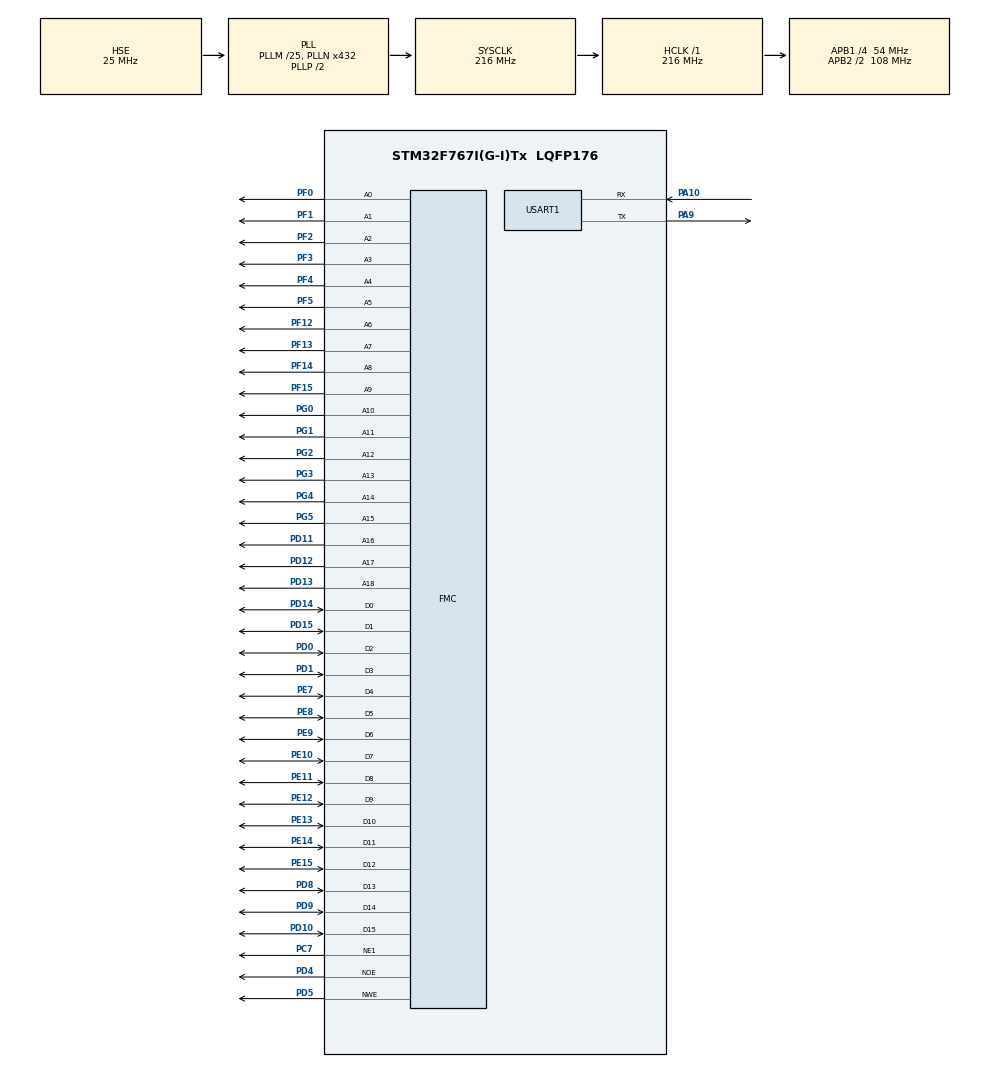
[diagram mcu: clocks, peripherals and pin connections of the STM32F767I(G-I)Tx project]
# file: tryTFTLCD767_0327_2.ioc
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Mcu.Family=STM32F7
Mcu.Name=STM32F767I(G-I)Tx
Mcu.Package=LQFP176
NVIC.PriorityGroup=NVIC_PRIORITYGROUP_4
PA10.Mode=Asynchronous
PA10.Signal=USART1_RX
PA9.Mode=Asynchronous
PA9.Signal=USART1_TX
PC7.Mode=NorPsramChipSelect1_1
PC7.Signal=FMC_NE1
PD0.Signal=FMC_D2_DA2
PD1.Signal=FMC_D3_DA3
PD10.Signal=FMC_D15_DA15
PD11.Signal=FMC_A16_CLE
PD12.Signal=FMC_A17_ALE
PD13.Signal=FMC_A18
PD14.Signal=FMC_D0_DA0
PD15.Signal=FMC_D1_DA1
PD4.Signal=FMC_NOE
PD5.Signal=FMC_NWE
PD8.Signal=FMC_D13_DA13
PD9.Signal=FMC_D14_DA14
PE10.Signal=FMC_D7_DA7
PE11.Signal=FMC_D8_DA8
PE12.Signal=FMC_D9_DA9
PE13.Signal=FMC_D10_DA10
PE14.Signal=FMC_D11_DA11
PE15.Signal=FMC_D12_DA12
PE7.Signal=FMC_D4_DA4
PE8.Signal=FMC_D5_DA5
PE9.Signal=FMC_D6_DA6
PF0.Signal=FMC_A0
PF1.Signal=FMC_A1
PF12.Signal=FMC_A6
PF13.Signal=FMC_A7
PF14.Signal=FMC_A8
PF15.Signal=FMC_A9
PF2.Signal=FMC_A2
PF3.Signal=FMC_A3
PF4.Signal=FMC_A4
PF5.Signal=FMC_A5
PG0.Signal=FMC_A10
PG1.Signal=FMC_A11
PG2.Signal=FMC_A12
PG3.Signal=FMC_A13
PG4.Signal=FMC_A14_BA0
PG5.Signal=FMC_A15_BA1
PH0/OSC_IN.Mode=HSE-External-Oscillator
PH0/OSC_IN.Signal=RCC_OSC_IN
PH1/OSC_OUT.Mode=HSE-External-Oscillator
PH1/OSC_OUT.Signal=RCC_OSC_OUT
ProjectManager.HeapSize=0x200
ProjectManager.StackSize=0x400
ProjectManager.TargetToolchain=STM32CubeIDE
RCC.AHBFreq_Value=216000000
RCC.APB1CLKDivider=RCC_HCLK_DIV4
RCC.APB1Freq_Value=54000000
RCC.APB1TimFreq_Value=108000000
RCC.APB2CLKDivider=RCC_HCLK_DIV2
RCC.APB2Freq_Value=108000000
RCC.APB2TimFreq_Value=216000000
RCC.CortexFreq_Value=216000000
RCC.HCLKFreq_Value=216000000
RCC.HSE_VALUE=25000000
RCC.HSI_VALUE=16000000
RCC.LSE_VALUE=32768
RCC.PLLM=25
RCC.PLLN=432
RCC.PLLSourceVirtual=RCC_PLLSOURCE_HSE
RCC.SYSCLKFreq_VALUE=216000000
RCC.SYSCLKSource=RCC_SYSCLKSOURCE_PLLCLK
RCC.USBFreq_Value=216000000
RCC.VCOOutputFreq_Value=432000000
SH.FMC_A0.0=FMC_A0,19b-a1
SH.FMC_A1.0=FMC_A1,19b-a1
SH.FMC_A10.0=FMC_A10,19b-a1
SH.FMC_A11.0=FMC_A11,19b-a1
SH.FMC_A12.0=FMC_A12,19b-a1
SH.FMC_A13.0=FMC_A13,19b-a1
SH.FMC_A14_BA0.0=FMC_A14,19b-a1
SH.FMC_A15_BA1.0=FMC_A15,19b-a1
SH.FMC_A16_CLE.0=FMC_A16,19b-a1
SH.FMC_A17_ALE.0=FMC_A17,19b-a1
SH.FMC_A18.0=FMC_A18,19b-a1
SH.FMC_A2.0=FMC_A2,19b-a1
SH.FMC_A3.0=FMC_A3,19b-a1
SH.FMC_A4.0=FMC_A4,19b-a1
SH.FMC_A5.0=FMC_A5,19b-a1
SH.FMC_A6.0=FMC_A6,19b-a1
SH.FMC_A7.0=FMC_A7,19b-a1
SH.FMC_A8.0=FMC_A8,19b-a1
SH.FMC_A9.0=FMC_A9,19b-a1
SH.FMC_D0_DA0.0=FMC_D0,16b-d1
SH.FMC_D10_DA10.0=FMC_D10,16b-d1
SH.FMC_D11_DA11.0=FMC_D11,16b-d1
SH.FMC_D12_DA12.0=FMC_D12,16b-d1
SH.FMC_D13_DA13.0=FMC_D13,16b-d1
SH.FMC_D14_DA14.0=FMC_D14,16b-d1
SH.FMC_D15_DA15.0=FMC_D15,16b-d1
SH.FMC_D1_DA1.0=FMC_D1,16b-d1
SH.FMC_D2_DA2.0=FMC_D2,16b-d1
SH.FMC_D3_DA3.0=FMC_D3,16b-d1
SH.FMC_D4_DA4.0=FMC_D4,16b-d1
SH.FMC_D5_DA5.0=FMC_D5,16b-d1
SH.FMC_D6_DA6.0=FMC_D6,16b-d1
SH.FMC_D7_DA7.0=FMC_D7,16b-d1
SH.FMC_D8_DA8.0=FMC_D8,16b-d1
SH.FMC_D9_DA9.0=FMC_D9,16b-d1
SH.FMC_NOE.0=FMC_NOE,Sram1
SH.FMC_NWE.0=FMC_NWE,Sram1
USART1.VirtualMode-Asynchronous=VM_ASYNC
board=custom

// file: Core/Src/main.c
/* USER CODE BEGIN Header */
/**
  ******************************************************************************
  * @file           : main.c
  * @brief          : Main program body
  ******************************************************************************
  * @attention
  *
  * <h2><center>&copy; Copyright (c) 2021 STMicroelectronics.
  * All rights reserved.</center></h2>
  *
  * This software component is licensed by ST under BSD 3-Clause license,
  * the "License"; You may not use this file except in compliance with the
  * License. You may obtain a copy of the License at:
  *                        opensource.org/licenses/BSD-3-Clause
  *
  ******************************************************************************
  */
/* USER CODE END Header */
#include "main.h"
#include "usart.h"
#include "gpio.h"
#include "fmc.h"

/* USER CODE BEGIN Includes */
#include "lcd.h"
#include "touch.h"
#include "delay.h"
#include "stdio.h"
/* USER CODE END Includes */

/* USER CODE BEGIN PM */
int fputc(int ch,FILE* f)
{
    uint8_t temp[1]={ch};
    HAL_UART_Transmit(&huart1,temp,1,2);
    return 0;
}
/* USER CODE END PM */

void SystemClock_Config(void);

/* USER CODE BEGIN 0 */
void ctp_test(void)
{
    // y:320-480; x:160,320,480;
    LCD_Clear(RED);
    LCD_Fill(0,320,160,480,GREEN);

    LCD_Fill(160,320,320,480,YELLOW);
    LCD_Fill(320,320,480,480,GRAYBLUE);
    POINT_COLOR=RED;
    LCD_ShowString(80-24,400-8,48,16,16,"PWM");
    LCD_ShowString(240-24,400-8,48,16,16,"sin");
    LCD_ShowString(400-64,400-8,128,16,16,"triangle");
    while(1)
    {
        tp_dev.scan(1);
        if(tp_dev.x[0]<lcddev.width&&tp_dev.y[0]<lcddev.height)
        {
            if(tp_dev.x[0]<160&&tp_dev.y[0]<480&&tp_dev.y[0]>320)
            {                                 /**DMA 串口接收和发送哪个要设为循环 **/
                LCD_Clear(GREEN);
                break;
            }
            if(tp_dev.x[0]>160&&tp_dev.x[0]<320&&tp_dev.y[0]<480&&tp_dev.y[0]>320)
            {
                LCD_Clear(YELLOW);
                break;
            }
            if(tp_dev.x[0]<480&&tp_dev.y[0]<480&&tp_dev.y[0]>320)
            {
                LCD_Clear(GRAYBLUE);
                break;
            }
        }
    }
}
/* USER CODE END 0 */

int main(void)
{

  /* MCU Configuration--------------------------------------------------------*/

  /* Reset of all peripherals, Initializes the Flash interface and the Systick. */
  HAL_Init();

  /* Configure the system clock */
  SystemClock_Config();

  /* Initialize all configured peripherals */
  MX_GPIO_Init();
  MX_FMC_Init();
  MX_USART1_UART_Init();
  /* USER CODE BEGIN 2 */
  delay_init(216);
  LCD_Init();
  tp_dev.init();
  ctp_test();
  /* USER CODE END 2 */

  /* Infinite loop */
  while (1)
  {

  }
}

void SystemClock_Config(void)
{
  RCC_OscInitTypeDef RCC_OscInitStruct = {0};
  RCC_ClkInitTypeDef RCC_ClkInitStruct = {0};
  RCC_PeriphCLKInitTypeDef PeriphClkInitStruct = {0};

  /** Configure the main internal regulator output voltage
  */
  __HAL_RCC_PWR_CLK_ENABLE();
  __HAL_PWR_VOLTAGESCALING_CONFIG(PWR_REGULATOR_VOLTAGE_SCALE1);
  /** Initializes the RCC Oscillators according to the specified parameters
  * in the RCC_OscInitTypeDef structure.
  */
  RCC_OscInitStruct.OscillatorType = RCC_OSCILLATORTYPE_HSE;
  RCC_OscInitStruct.HSEState = RCC_HSE_ON;
  RCC_OscInitStruct.PLL.PLLState = RCC_PLL_ON;
  RCC_OscInitStruct.PLL.PLLSource = RCC_PLLSOURCE_HSE;
  RCC_OscInitStruct.PLL.PLLM = 25;
  RCC_OscInitStruct.PLL.PLLN = 432;
  RCC_OscInitStruct.PLL.PLLP = RCC_PLLP_DIV2;
  RCC_OscInitStruct.PLL.PLLQ = 2;
  if (HAL_RCC_OscConfig(&RCC_OscInitStruct) != HAL_OK)
  {
    Error_Handler();
  }
  /** Activate the Over-Drive mode
  */
  if (HAL_PWREx_EnableOverDrive() != HAL_OK)
  {
    Error_Handler();
  }
  /** Initializes the CPU, AHB and APB buses clocks
  */
  RCC_ClkInitStruct.ClockType = RCC_CLOCKTYPE_HCLK|RCC_CLOCKTYPE_SYSCLK
                              |RCC_CLOCKTYPE_PCLK1|RCC_CLOCKTYPE_PCLK2;
  RCC_ClkInitStruct.SYSCLKSource = RCC_SYSCLKSOURCE_PLLCLK;
  RCC_ClkInitStruct.AHBCLKDivider = RCC_SYSCLK_DIV1;
  RCC_ClkInitStruct.APB1CLKDivider = RCC_HCLK_DIV4;
  RCC_ClkInitStruct.APB2CLKDivider = RCC_HCLK_DIV2;

  if (HAL_RCC_ClockConfig(&RCC_ClkInitStruct, FLASH_LATENCY_7) != HAL_OK)
  {
    Error_Handler();
  }
  PeriphClkInitStruct.PeriphClockSelection = RCC_PERIPHCLK_USART1;
  PeriphClkInitStruct.Usart1ClockSelection = RCC_USART1CLKSOURCE_PCLK2;
  if (HAL_RCCEx_PeriphCLKConfig(&PeriphClkInitStruct) != HAL_OK)
  {
    Error_Handler();
  }
}

void Error_Handler(void)
{
  __disable_irq();
  while (1)
  {
  }
}

/************************ (C) COPYRIGHT STMicroelectronics *****END OF FILE****/
